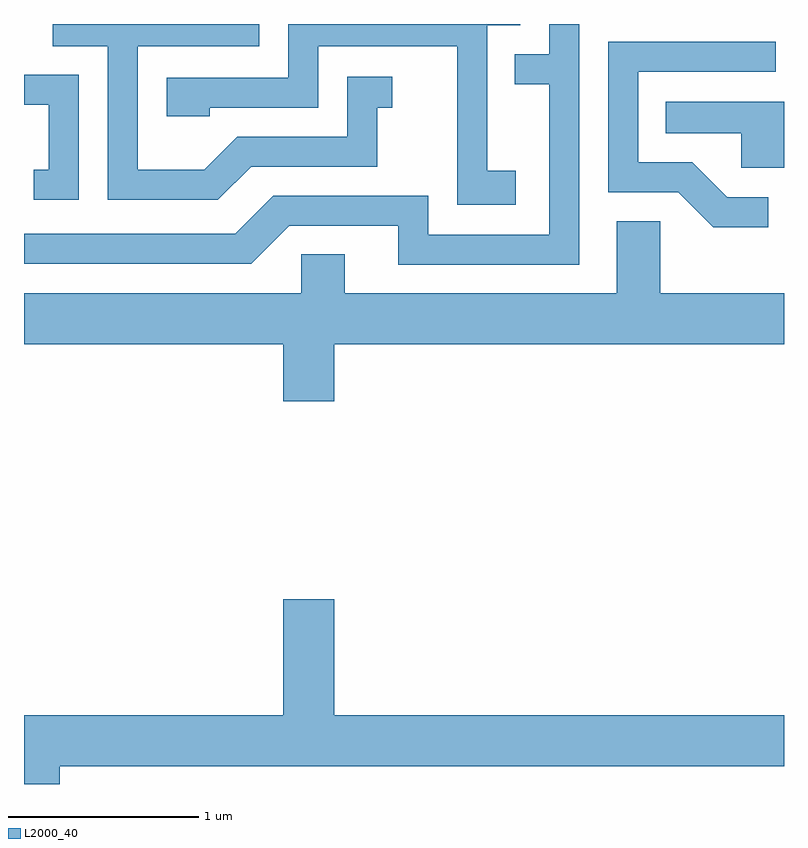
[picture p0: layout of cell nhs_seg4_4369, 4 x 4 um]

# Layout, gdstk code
import gdstk
lib = gdstk.Library(unit=1e-6, precision=1e-09)
def P(c, l, *ps):  # polygons
    for p in ps: c.add(gdstk.Polygon(p, *l))
L2000_40 = (2000, 40)

nhs_seg4_4369 = lib.new_cell('nhs_seg4_4369')
P(nhs_seg4_4369, L2000_40, [(316.199,1291.209),(316.049,1291.209),(316.049,1291.976),(316.224,1291.976),(316.224,1291.982),(315.001,1291.982),(315.001,1291.699),(314.361,1291.699),(314.361,1291.496),(314.589,1291.496),(314.589,1291.541),(315.159,1291.541),(315.159,1291.866),(315.891,1291.866),(315.891,1291.031),(316.199,1291.031)],
  [(314.807,1291.231),(315.469,1291.231),(315.469,1291.541),(315.548,1291.541),(315.548,1291.704),(315.311,1291.704),(315.311,1291.389),(314.734,1291.389),(314.559,1291.214),(314.209,1291.214),(314.209,1291.866),(314.849,1291.866),(314.849,1291.982),(313.761,1291.982),(313.761,1291.866),(314.051,1291.866),(314.051,1291.056),(314.632,1291.056)],
  [(316.534,1291.982),(316.376,1291.982),(316.376,1291.824),(316.193,1291.824),(316.193,1291.666),(316.376,1291.666),(316.376,1290.874),(315.739,1290.874),(315.739,1291.079),(314.924,1291.079),(314.724,1290.879),(313.611,1290.879),(313.611,1290.721),(314.807,1290.721),(315.007,1290.921),(315.581,1290.921),(315.581,1290.716),(316.534,1290.716)],
  [(317.528,1291.069),(317.312,1291.069),(317.127,1291.254),(316.844,1291.254),(316.844,1291.731),(317.568,1291.731),(317.568,1291.889),(316.686,1291.889),(316.686,1291.096),(317.054,1291.096),(317.239,1290.911),(317.528,1290.911)],
  [(313.899,1291.714),(313.611,1291.714),(313.611,1291.556),(313.741,1291.556),(313.741,1291.214),(313.663,1291.214),(313.663,1291.056),(313.899,1291.056)],
  [(317.611,1291.574),(316.988,1291.574),(316.988,1291.406),(317.386,1291.406),(317.386,1291.226),(317.611,1291.226)],
  [(315.244,1290.296),(317.611,1290.296),(317.611,1290.564),(316.959,1290.564),(316.959,1290.944),(316.731,1290.944),(316.731,1290.564),(315.299,1290.564),(315.299,1290.769),(315.071,1290.769),(315.071,1290.564),(313.611,1290.564),(313.611,1290.296),(314.976,1290.296),(314.976,1289.996),(315.244,1289.996)],
  [(313.799,1288.076),(317.611,1288.076),(317.611,1288.344),(315.244,1288.344),(315.244,1288.954),(314.976,1288.954),(314.976,1288.344),(313.611,1288.344),(313.611,1287.982),(313.799,1287.982)])

lib.write_gds('nhs_seg4_4369.gds')
